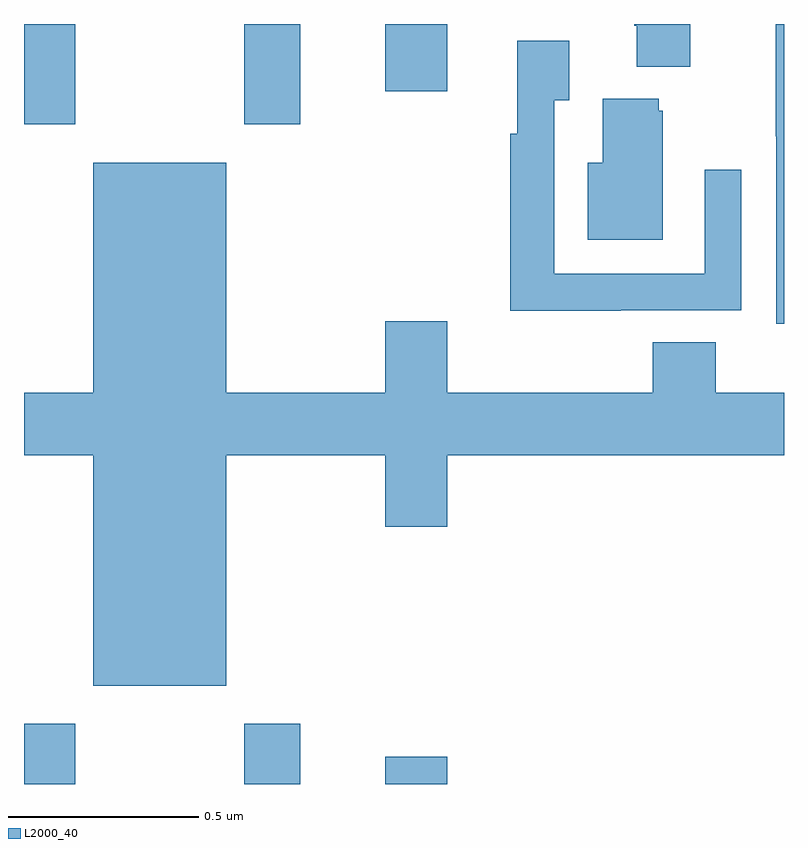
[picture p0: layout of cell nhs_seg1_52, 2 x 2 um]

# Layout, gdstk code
import gdstk
lib = gdstk.Library(unit=1e-6, precision=1e-09)
def R(c, l, rs):  # rectangles x0, y0, x1, y1
    for r in rs: c.add(gdstk.rectangle(r[:2], r[2:], *l))
def P(c, l, *ps):  # polygons
    for p in ps: c.add(gdstk.Polygon(p, *l))
L2000_40 = (2000, 40)

nhs_seg1_52 = lib.new_cell('nhs_seg1_52')
R(nhs_seg1_52, L2000_40, [(111,552.199,111.135,552.358), (111.58,552.199,111.727,552.358), (111.95,552.199,112.114,552.271), (111,553.935,111.135,554.199), (111.58,553.935,111.727,554.199), (111.95,554.022,112.114,554.199)])
P(nhs_seg1_52, L2000_40, [(112.753,554.199),(112.606,554.199),(112.606,554.194),(112.613,554.194),(112.613,554.087),(112.753,554.087)],
  [(113,554.199),(112.978,554.199),(112.978,553.903),(112.98,553.903),(112.98,553.41),(113,553.41)],
  [(112.571,553.446),(112.887,553.446),(112.887,553.816),(112.791,553.816),(112.791,553.542),(112.395,553.542),(112.395,553.999),(112.435,553.999),(112.435,554.155),(112.298,554.155),(112.298,553.91),(112.279,553.91),(112.279,553.445),(112.571,553.445)],
  [(112.681,553.971),(112.67,553.971),(112.67,554.002),(112.523,554.002),(112.523,553.834),(112.484,553.834),(112.484,553.631),(112.681,553.631)],
  [(111.532,553.064),(111.95,553.064),(111.95,552.876),(112.114,552.876),(112.114,553.064),(113,553.064),(113,553.228),(112.82,553.228),(112.82,553.361),(112.655,553.361),(112.655,553.228),(112.114,553.228),(112.114,553.417),(111.95,553.417),(111.95,553.228),(111.532,553.228),(111.532,553.834),(111.182,553.834),(111.182,553.228),(111,553.228),(111,553.064),(111.182,553.064),(111.182,552.458),(111.532,552.458)])

lib.write_gds('nhs_seg1_52.gds')
